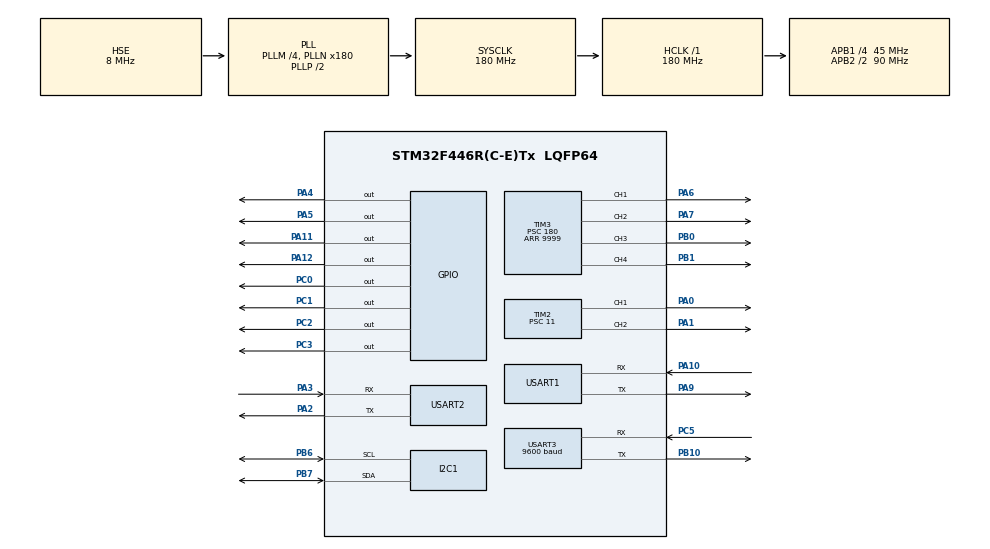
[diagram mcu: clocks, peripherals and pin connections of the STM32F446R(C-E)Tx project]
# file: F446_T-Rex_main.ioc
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Dma.Request0=USART1_RX
Dma.USART1_RX.0.Direction=DMA_PERIPH_TO_MEMORY
Dma.USART1_RX.0.FIFOMode=DMA_FIFOMODE_DISABLE
Dma.USART1_RX.0.Instance=DMA2_Stream2
Dma.USART1_RX.0.MemDataAlignment=DMA_MDATAALIGN_BYTE
Dma.USART1_RX.0.MemInc=DMA_MINC_ENABLE
Dma.USART1_RX.0.Mode=DMA_CIRCULAR
Dma.USART1_RX.0.PeriphDataAlignment=DMA_PDATAALIGN_BYTE
Dma.USART1_RX.0.PeriphInc=DMA_PINC_DISABLE
Dma.USART1_RX.0.Priority=DMA_PRIORITY_LOW
IWDG.Prescaler=IWDG_PRESCALER_32
Mcu.Family=STM32F4
Mcu.Name=STM32F446R(C-E)Tx
Mcu.Package=LQFP64
NVIC.DMA2_Stream2_IRQn=true\:1\:0\:true\:false\:true\:false
NVIC.PriorityGroup=NVIC_PRIORITYGROUP_4
NVIC.TIM6_DAC_IRQn=true\:2\:0\:true\:false\:true\:true
PA0-WKUP.Signal=S_TIM2_CH1_ETR
PA1.Signal=S_TIM2_CH2
PA10.Mode=Asynchronous
PA10.Signal=USART1_RX
PA11.Signal=GPIO_Output
PA12.Signal=GPIO_Output
PA13.Mode=Serial_Wire
PA13.Signal=SYS_JTMS-SWDIO
PA14.Mode=Serial_Wire
PA14.Signal=SYS_JTCK-SWCLK
PA2.Mode=Asynchronous
PA2.Signal=USART2_TX
PA3.Mode=Asynchronous
PA3.Signal=USART2_RX
PA4.Signal=GPIO_Output
PA5.Signal=GPIO_Output
PA6.Signal=S_TIM3_CH1
PA7.Signal=S_TIM3_CH2
PA9.Mode=Asynchronous
PA9.Signal=USART1_TX
PB0.Signal=S_TIM3_CH3
PB1.Signal=S_TIM3_CH4
PB10.Mode=Asynchronous
PB10.Signal=USART3_TX
PB6.Mode=I2C
PB6.Signal=I2C1_SCL
PB7.Mode=I2C
PB7.Signal=I2C1_SDA
PC0.Signal=GPIO_Output
PC1.Signal=GPIO_Output
PC2.Signal=GPIO_Output
PC3.Signal=GPIO_Output
PC5.Mode=Asynchronous
PC5.Signal=USART3_RX
PH0-OSC_IN.Mode=HSE-External-Oscillator
PH0-OSC_IN.Signal=RCC_OSC_IN
PH1-OSC_OUT.Mode=HSE-External-Oscillator
PH1-OSC_OUT.Signal=RCC_OSC_OUT
ProjectManager.HeapSize=0x200
ProjectManager.StackSize=0x400
ProjectManager.TargetToolchain=TrueSTUDIO
RCC.AHBFreq_Value=180000000
RCC.APB1CLKDivider=RCC_HCLK_DIV4
RCC.APB1Freq_Value=45000000
RCC.APB1TimFreq_Value=90000000
RCC.APB2CLKDivider=RCC_HCLK_DIV2
RCC.APB2Freq_Value=90000000
RCC.APB2TimFreq_Value=180000000
RCC.CortexFreq_Value=180000000
RCC.HCLKFreq_Value=180000000
RCC.HSE_VALUE=8000000
RCC.PLLM=4
RCC.PLLN=180
RCC.PLLSourceVirtual=RCC_PLLSOURCE_HSE
RCC.SYSCLKFreq_VALUE=180000000
RCC.SYSCLKSource=RCC_SYSCLKSOURCE_PLLCLK
RCC.USBFreq_Value=180000000
RCC.VCOOutputFreq_Value=360000000
SH.S_TIM2_CH1_ETR.0=TIM2_CH1,PWM Generation1 CH1
SH.S_TIM2_CH2.0=TIM2_CH2,PWM Generation2 CH2
SH.S_TIM3_CH1.0=TIM3_CH1,PWM Generation1 CH1
SH.S_TIM3_CH2.0=TIM3_CH2,PWM Generation2 CH2
SH.S_TIM3_CH3.0=TIM3_CH3,PWM Generation3 CH3
SH.S_TIM3_CH4.0=TIM3_CH4,PWM Generation4 CH4
TIM2.Channel-PWM\ Generation1\ CH1=TIM_CHANNEL_1
TIM2.Channel-PWM\ Generation2\ CH2=TIM_CHANNEL_2
TIM2.Period=999
TIM2.Prescaler=11
TIM3.Channel-PWM\ Generation1\ CH1=TIM_CHANNEL_1
TIM3.Channel-PWM\ Generation2\ CH2=TIM_CHANNEL_2
TIM3.Channel-PWM\ Generation3\ CH3=TIM_CHANNEL_3
TIM3.Channel-PWM\ Generation4\ CH4=TIM_CHANNEL_4
TIM3.Period=9999
TIM3.Prescaler=180
TIM6.Period=50000-1
TIM6.Prescaler=432
USART1.VirtualMode=VM_ASYNC
USART2.VirtualMode=VM_ASYNC
USART3.BaudRate=9600
USART3.VirtualMode=VM_ASYNC
VP_IWDG_VS_IWDG.Mode=IWDG_Activate
VP_TIM6_VS_ClockSourceINT.Mode=Enable_Timer
board=F446_T-Rex_main

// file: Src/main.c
/**
  ******************************************************************************
  * @file           : main.c
  * @brief          : Main program body
  ******************************************************************************
  ** This notice applies to any and all portions of this file
  * that are not between comment pairs USER CODE BEGIN and
  * USER CODE END. Other portions of this file, whether
  * inserted by the user or by software development tools
  * are owned by their respective copyright owners.
  *
  * COPYRIGHT(c) 2018 STMicroelectronics
  *
  * Redistribution and use in source and binary forms, with or without modification,
  * are permitted provided that the following conditions are met:
  *   1. Redistributions of source code must retain the above copyright notice,
  *      this list of conditions and the following disclaimer.
  *   2. Redistributions in binary form must reproduce the above copyright notice,
  *      this list of conditions and the following disclaimer in the documentation
  *      and/or other materials provided with the distribution.
  *   3. Neither the name of STMicroelectronics nor the names of its contributors
  *      may be used to endorse or promote products derived from this software
  *      without specific prior written permission.
  *
  * THIS SOFTWARE IS PROVIDED BY THE COPYRIGHT HOLDERS AND CONTRIBUTORS "AS IS"
  * AND ANY EXPRESS OR IMPLIED WARRANTIES, INCLUDING, BUT NOT LIMITED TO, THE
  * IMPLIED WARRANTIES OF MERCHANTABILITY AND FITNESS FOR A PARTICULAR PURPOSE ARE
  * DISCLAIMED. IN NO EVENT SHALL THE COPYRIGHT HOLDER OR CONTRIBUTORS BE LIABLE
  * FOR ANY DIRECT, INDIRECT, INCIDENTAL, SPECIAL, EXEMPLARY, OR CONSEQUENTIAL
  * DAMAGES (INCLUDING, BUT NOT LIMITED TO, PROCUREMENT OF SUBSTITUTE GOODS OR
  * SERVICES; LOSS OF USE, DATA, OR PROFITS; OR BUSINESS INTERRUPTION) HOWEVER
  * CAUSED AND ON ANY THEORY OF LIABILITY, WHETHER IN CONTRACT, STRICT LIABILITY,
  * OR TORT (INCLUDING NEGLIGENCE OR OTHERWISE) ARISING IN ANY WAY OUT OF THE USE
  * OF THIS SOFTWARE, EVEN IF ADVISED OF THE POSSIBILITY OF SUCH DAMAGE.
  *
  ******************************************************************************
  */
#include "main.h"
#include "stm32f4xx_hal.h"
#include "dma.h"
#include "i2c.h"
#include "iwdg.h"
#include "tim.h"
#include "usart.h"
#include "gpio.h"

/* USER CODE BEGIN Includes */
#include "CCS811.h"
#include "DFplayer_Mini_mp3.h"
#include "xprintf.h"
#define delay_time 80
#define SERVO_LOW 380
#define SERVO_HIGH 1120

/* USER CODE END Includes */

/* USER CODE BEGIN PV */
/* Private variables ---------------------------------------------------------*/
void HAL_UART_RxCpltCallback(UART_HandleTypeDef *huart);
void HAL_TIM_PeriodElapsedCallback(TIM_HandleTypeDef *htim);
TIM_MasterConfigTypeDef sMasterConfig;
TIM_OC_InitTypeDef sConfigOC;
TIM_MasterConfigTypeDef sMasterConfig;

long map(long x, long in_min, long in_max, long out_min, long out_max);
void servo(uint8_t servo1,uint8_t servo2,uint8_t servo3);
void motor(uint8_t R1,uint8_t R2,uint8_t L1,uint8_t L2);
void camera(uint8_t num);
uint16_t CGdata[2];
uint8_t Rx[11],Tx[4];
uint8_t motorR,motorL;
uint8_t TPIP=0,Rxtemp;
uint8_t data[11],vtemp;
uint32_t counttime=0;
uint8_t flug=0;

/* USER CODE END PV */

void SystemClock_Config(void);

/* USER CODE BEGIN PFP */
/* Private function prototypes -----------------------------------------------*/

/* USER CODE END PFP */

int main(void)
{

  /* MCU Configuration----------------------------------------------------------*/

  /* Reset of all peripherals, Initializes the Flash interface and the Systick. */
  HAL_Init();

  /* Configure the system clock */
  SystemClock_Config();

  /* Initialize all configured peripherals */
  MX_GPIO_Init();
  MX_DMA_Init();
  MX_USART1_UART_Init();
  MX_USART2_UART_Init();
  MX_TIM2_Init();
  MX_TIM3_Init();
  MX_I2C1_Init();
  MX_USART3_UART_Init();
  MX_TIM6_Init();
  MX_IWDG_Init();
  /* USER CODE BEGIN 2 */
  HAL_IWDG_Refresh(&hiwdg);
  servo(90,90,90);
  xprintf_init(&huart2);
  HAL_TIM_Base_Start_IT(&htim6);
  HAL_IWDG_Refresh(&hiwdg);
  CCS811_init(&hi2c1);
  DFPlayer_init(&huart3);
  HAL_IWDG_Refresh(&hiwdg);
  DFPlayer_setvolume(0x7);
  HAL_Delay(500);
  HAL_IWDG_Refresh(&hiwdg);

  if(HAL_UART_Receive_DMA(&huart1,(uint8_t*)Rx,sizeof(Rx))!=HAL_OK){
	  Error_Handler();
  }
  DFPlayer_playmp3(0);
  while(TPIP==0){
    motor(10,0,10,0);
    HAL_IWDG_Refresh(&hiwdg);
  }
  DFPlayer_playmp3(1);
  HAL_IWDG_Refresh(&hiwdg);
  HAL_Delay(2000);
  HAL_IWDG_Refresh(&hiwdg);
  DFPlayer_stopmp3();
  DFPlayer_setvolume(0x30);

  /* USER CODE END 2 */

  /* Infinite loop */
  while (1)
  {

  /* USER CODE BEGIN 3 */
	  CGdata[0]=CCS811_CO2_get();
	  CGdata[1]=CCS811_TVOCs_get();
	  for(int i=0;i<11;i++){
		  xprintf(" data[%d]:%d",i,data[i]);
	  }
	  xprintf(" CO2:%d",CGdata[0]);
	  xprintf(" gas:%d",CGdata[1]);
	  xprintf("\n");
	  if(TPIP==0){
		  motor(10,0,10,0);
		  HAL_IWDG_Refresh(&hiwdg);
	  }
	  else if(TPIP==1){

		  camera(data[8]);
		  motor(data[1], data[2], data[3], data[4]);
		  servo(data[5],data[6],data[7]);
		  HAL_IWDG_Refresh(&hiwdg);

			if(flug==1){
				switch (data[9]) {
					case 1:
						DFPlayer_playmp3(2);
						break;
					case 2:
						DFPlayer_playmp3(3);
						break;
					case 3:
						DFPlayer_playmp3(4);
						break;
					case 4:
						DFPlayer_playmp3(5);
						break;
					default:
						DFPlayer_stopmp3();
						break;
				}
				flug=0;
			}

	  }
	  HAL_IWDG_Refresh(&hiwdg);

  }

  /* USER CODE END 3 */

}

void SystemClock_Config(void)
{

  RCC_OscInitTypeDef RCC_OscInitStruct;
  RCC_ClkInitTypeDef RCC_ClkInitStruct;

    /**Configure the main internal regulator output voltage
    */
  __HAL_RCC_PWR_CLK_ENABLE();

  __HAL_PWR_VOLTAGESCALING_CONFIG(PWR_REGULATOR_VOLTAGE_SCALE1);

    /**Initializes the CPU, AHB and APB busses clocks
    */
  RCC_OscInitStruct.OscillatorType = RCC_OSCILLATORTYPE_LSI|RCC_OSCILLATORTYPE_HSE;
  RCC_OscInitStruct.HSEState = RCC_HSE_ON;
  RCC_OscInitStruct.LSIState = RCC_LSI_ON;
  RCC_OscInitStruct.PLL.PLLState = RCC_PLL_ON;
  RCC_OscInitStruct.PLL.PLLSource = RCC_PLLSOURCE_HSE;
  RCC_OscInitStruct.PLL.PLLM = 4;
  RCC_OscInitStruct.PLL.PLLN = 180;
  RCC_OscInitStruct.PLL.PLLP = RCC_PLLP_DIV2;
  RCC_OscInitStruct.PLL.PLLQ = 2;
  RCC_OscInitStruct.PLL.PLLR = 2;
  if (HAL_RCC_OscConfig(&RCC_OscInitStruct) != HAL_OK)
  {
    _Error_Handler(__FILE__, __LINE__);
  }

    /**Activate the Over-Drive mode
    */
  if (HAL_PWREx_EnableOverDrive() != HAL_OK)
  {
    _Error_Handler(__FILE__, __LINE__);
  }

    /**Initializes the CPU, AHB and APB busses clocks
    */
  RCC_ClkInitStruct.ClockType = RCC_CLOCKTYPE_HCLK|RCC_CLOCKTYPE_SYSCLK
                              |RCC_CLOCKTYPE_PCLK1|RCC_CLOCKTYPE_PCLK2;
  RCC_ClkInitStruct.SYSCLKSource = RCC_SYSCLKSOURCE_PLLCLK;
  RCC_ClkInitStruct.AHBCLKDivider = RCC_SYSCLK_DIV1;
  RCC_ClkInitStruct.APB1CLKDivider = RCC_HCLK_DIV4;
  RCC_ClkInitStruct.APB2CLKDivider = RCC_HCLK_DIV2;

  if (HAL_RCC_ClockConfig(&RCC_ClkInitStruct, FLASH_LATENCY_5) != HAL_OK)
  {
    _Error_Handler(__FILE__, __LINE__);
  }

    /**Configure the Systick interrupt time
    */
  HAL_SYSTICK_Config(HAL_RCC_GetHCLKFreq()/1000);

    /**Configure the Systick
    */
  HAL_SYSTICK_CLKSourceConfig(SYSTICK_CLKSOURCE_HCLK);

  /* SysTick_IRQn interrupt configuration */
  HAL_NVIC_SetPriority(SysTick_IRQn, 0, 0);
}

/* USER CODE BEGIN 4 */
void HAL_TIM_PeriodElapsedCallback(TIM_HandleTypeDef *htim){
	if(Rxtemp!=data[10]){
		TPIP=1;
		HAL_GPIO_WritePin(GPIOA,GPIO_PIN_5,1);
	}
	else{
		TPIP=0;
		HAL_GPIO_WritePin(GPIOA,GPIO_PIN_5,0);
	}
	Rxtemp=data[10];
	counttime++;
	if(counttime>50){
		flug=1;
		counttime=0;
	}
}

long map(long x, long in_min, long in_max, long out_min, long out_max) {
	  return (x - in_min) * (out_max - out_min) / (in_max - in_min) + out_min;
}

void servo(uint8_t servo1,uint8_t servo2,uint8_t servo3){
	  sConfigOC.Pulse = map(servo1,0,180,SERVO_LOW,SERVO_HIGH);
	  if (HAL_TIM_PWM_ConfigChannel(&htim3, &sConfigOC, TIM_CHANNEL_1) != HAL_OK)
	 	  {
	 	  Error_Handler();
	   }
	   if (HAL_TIM_PWM_Start(&htim3, TIM_CHANNEL_1) != HAL_OK)
	   {
	 	  Error_Handler();
	   }
	  sConfigOC.Pulse = map(servo2,0,180,SERVO_LOW,SERVO_HIGH);
	  if (HAL_TIM_PWM_ConfigChannel(&htim3, &sConfigOC, TIM_CHANNEL_2) != HAL_OK)
	   {
		  Error_Handler();
	   }
	  if (HAL_TIM_PWM_Start(&htim3, TIM_CHANNEL_2) != HAL_OK)
	  {
		  Error_Handler();
	  }
	  sConfigOC.Pulse = map(servo3,0,180,SERVO_LOW,SERVO_HIGH);
	  if (HAL_TIM_PWM_ConfigChannel(&htim3, &sConfigOC, TIM_CHANNEL_3) != HAL_OK)
	  {
	 	  Error_Handler();
	   }
	   if (HAL_TIM_PWM_Start(&htim3, TIM_CHANNEL_3) != HAL_OK)
	   {
	 	  Error_Handler();
	   }

}

void camera(uint8_t num){
	  switch(num){
	  	  case 0:
	  		  HAL_GPIO_WritePin(GPIOA,GPIO_PIN_11,0);
	  		  HAL_GPIO_WritePin(GPIOA,GPIO_PIN_12,0);
	  		  break;
	  	  case 1:
	  			  HAL_GPIO_WritePin(GPIOA,GPIO_PIN_11,0);
	  			  HAL_GPIO_WritePin(GPIOA,GPIO_PIN_12,1);
	  			  break;
	  	  case 2:
	  			  HAL_GPIO_WritePin(GPIOA,GPIO_PIN_11,1);
	  			  HAL_GPIO_WritePin(GPIOA,GPIO_PIN_12,0);
	  			  break;
	  	  default:
	  		  HAL_GPIO_WritePin(GPIOA,GPIO_PIN_11,0);
	  		  HAL_GPIO_WritePin(GPIOA,GPIO_PIN_12,0);
	  		  break;

	  }
}

void motor_move(uint32_t pwm1,uint32_t pwm2,GPIO_PinState pin1,GPIO_PinState pin2,GPIO_PinState pin3,GPIO_PinState pin4){
	HAL_GPIO_WritePin(GPIOC,GPIO_PIN_1,pin1);
    HAL_GPIO_WritePin(GPIOC,GPIO_PIN_0,pin2);
	HAL_GPIO_WritePin(GPIOC,GPIO_PIN_2,pin3);
	HAL_GPIO_WritePin(GPIOC,GPIO_PIN_3,pin4);
	sConfigOC.Pulse = pwm1;
	if (HAL_TIM_PWM_ConfigChannel(&htim2, &sConfigOC, TIM_CHANNEL_1) != HAL_OK)
	{
	   Error_Handler();
	}
	if (HAL_TIM_PWM_Start(&htim2, TIM_CHANNEL_1) != HAL_OK)
	{
	   Error_Handler();
	 }

	sConfigOC.Pulse = pwm2;
	if (HAL_TIM_PWM_ConfigChannel(&htim2, &sConfigOC, TIM_CHANNEL_2) != HAL_OK)
	{
	   Error_Handler();
	}
	if (HAL_TIM_PWM_Start(&htim2, TIM_CHANNEL_2) != HAL_OK)
	{
	   Error_Handler();
	}
}

void motor(uint8_t L1,uint8_t L2,uint8_t R1,uint8_t R2){

	if(R2<=0){
		motorR=0;
	}
	else{
		motorR = R2-1;
	}
	if(L2<=0){
		motorL=0;
	}
	else{
		motorL = L2-1;
	}

	if (R2 >= 0 && L2 >= 0) {
		switch (R1) {
		case 10:
			switch (L1) {
			case 10:
				motor_move(1000, 1000, 0, 0, 0, 0);
				break;

			case 100:
				motor_move(0, (motorL * 3.5), 0, 0, 1, 0);
				break;

			case 200:
				motor_move(0, (motorL * 3.5), 0, 0, 0, 1);
				break;

			default:
				motor_move(1000, 1000, 0, 0, 0, 0);
				break;
			}
		break;

		case 100:

			switch (L1) {
			case 10:
				motor_move((motorR * 4), 0, 1, 0, 0, 0);
				break;

			case 100:
				motor_move((motorR * 4), (motorL * 3.5), 1, 0, 1, 0);
				break;

			case 200:
				motor_move((motorR * 4), (motorL * 3.5), 1, 0, 0, 1);
				break;

			default:
				motor_move(1000, 1000, 0, 0, 0, 0);
				break;
			}
		break;

		case 200:
			switch (L1) {
			case 10:
				motor_move((motorR * 4), 0, 0, 1, 0, 0);
				break;

			case 100:
				motor_move((motorR * 4), (motorL * 3.5), 0, 1, 1, 0);
				break;

			case 200:
				motor_move((motorR * 4), (motorL * 3.5), 0, 1, 0, 1);
				break;

			default:
				motor_move(1000, 1000, 0, 0, 0, 0);
				break;
			}
		break;

		default:
			motor_move(1000,1000,0,0,0,0);
		break;
		}
	}
	else{
		motor_move(1000,1000,0,0,0,0);
	}
}

void HAL_UART_RxCpltCallback(UART_HandleTypeDef *huart){
	if(Rx[0]==254){
		data[0]=Rx[0];
		data[1]=Rx[1];
		data[2]=Rx[2];
		data[3]=Rx[3];
		data[4]=Rx[4];
		data[5]=Rx[5];
		data[6]=Rx[6];
		data[7]=Rx[7];
		data[8]=Rx[8];
		data[9]=Rx[9];
		data[10]=Rx[10];
	}
	else if(Rx[1]==254){
		data[0]=Rx[1];
		data[1]=Rx[2];
		data[2]=Rx[3];
		data[3]=Rx[4];
		data[4]=Rx[5];
		data[5]=Rx[6];
		data[6]=Rx[7];
		data[7]=Rx[8];
		data[8]=Rx[9];
		data[9]=Rx[10];
		data[10]=Rx[0];
	}
	else if(Rx[2]==254){
		data[0]=Rx[2];
		data[1]=Rx[3];
		data[2]=Rx[4];
		data[3]=Rx[5];
		data[4]=Rx[6];
		data[5]=Rx[7];
		data[6]=Rx[8];
		data[7]=Rx[9];
		data[8]=Rx[10];
		data[9]=Rx[0];
		data[10]=Rx[1];
	}
	else if(Rx[3]==254){
		data[0]=Rx[3];
		data[1]=Rx[4];
		data[2]=Rx[5];
		data[3]=Rx[6];
		data[4]=Rx[7];
		data[5]=Rx[8];
		data[6]=Rx[9];
		data[7]=Rx[10];
		data[8]=Rx[0];
		data[9]=Rx[1];
		data[10]=Rx[2];
	}
	else if(Rx[4]==254){
		data[0]=Rx[4];
		data[1]=Rx[5];
		data[2]=Rx[6];
		data[3]=Rx[7];
		data[4]=Rx[8];
		data[5]=Rx[9];
		data[6]=Rx[10];
		data[7]=Rx[0];
		data[8]=Rx[1];
		data[9]=Rx[2];
		data[10]=Rx[3];
	}
	else if(Rx[5]==254){
		data[0]=Rx[5];
		data[1]=Rx[6];
		data[2]=Rx[7];
		data[3]=Rx[8];
		data[4]=Rx[9];
		data[5]=Rx[10];
		data[6]=Rx[0];
		data[7]=Rx[1];
		data[8]=Rx[2];
		data[9]=Rx[3];
		data[10]=Rx[4];
	}
	else if(Rx[6]==254){
		data[0]=Rx[6];
		data[1]=Rx[7];
		data[2]=Rx[8];
		data[3]=Rx[9];
		data[4]=Rx[10];
		data[5]=Rx[1];
		data[6]=Rx[2];
		data[7]=Rx[3];
		data[8]=Rx[4];
		data[9]=Rx[5];
		data[10]=Rx[6];
	}
	else if(Rx[7]==254){
		data[0]=Rx[7];
		data[1]=Rx[8];
		data[2]=Rx[9];
		data[3]=Rx[10];
		data[4]=Rx[0];
		data[5]=Rx[1];
		data[6]=Rx[2];
		data[7]=Rx[3];
		data[8]=Rx[4];
		data[9]=Rx[5];
		data[10]=Rx[6];
	}
	else if(Rx[8]==254){
		data[0]=Rx[8];
		data[1]=Rx[9];
		data[2]=Rx[10];
		data[3]=Rx[0];
		data[4]=Rx[1];
		data[5]=Rx[2];
		data[6]=Rx[3];
		data[7]=Rx[4];
		data[8]=Rx[5];
		data[9]=Rx[6];
		data[10]=Rx[7];
	}
	else if(Rx[9]==254){
		data[0]=Rx[9];
		data[1]=Rx[10];
		data[2]=Rx[0];
		data[3]=Rx[1];
		data[4]=Rx[2];
		data[5]=Rx[3];
		data[6]=Rx[4];
		data[7]=Rx[5];
		data[8]=Rx[6];
		data[9]=Rx[7];
		data[10]=Rx[8];
	}
	else if(Rx[10]==254){
		data[0]=Rx[10];
		data[1]=Rx[0];
		data[2]=Rx[1];
		data[3]=Rx[2];
		data[4]=Rx[3];
		data[5]=Rx[4];
		data[6]=Rx[5];
		data[7]=Rx[6];
		data[8]=Rx[7];
		data[9]=Rx[8];
		data[10]=Rx[9];
	}
	Tx[0]=(uint8_t)((CGdata[0]&0b0000000011111111));
	Tx[1]=(uint8_t)((CGdata[0]&0b1111111100000000)>>8);
	Tx[2]=(uint8_t)((CGdata[1]&0b0000000011111111));
	Tx[3]=(uint8_t)((CGdata[1]&0b1111111100000000)>>8);
	HAL_UART_Transmit(&huart1,(uint8_t*)Tx,sizeof(Tx),0xFF);
}

/* USER CODE END 4 */

void _Error_Handler(char *file, int line)
{
  while(1)
  {
  }
}

/************************ (C) COPYRIGHT STMicroelectronics *****END OF FILE****/
